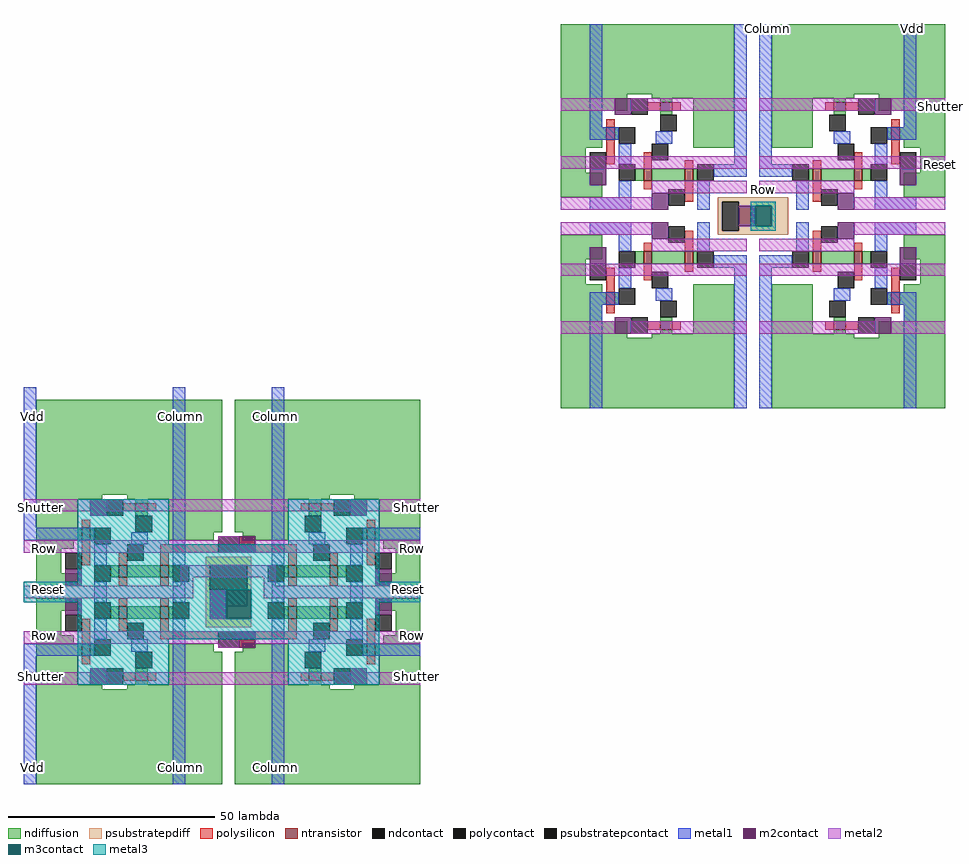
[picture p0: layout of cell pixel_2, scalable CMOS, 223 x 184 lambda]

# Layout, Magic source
magic
tech scmos
<< ntransistor >>
rect 24 71 27 73
rect 11 64 13 67
rect 66 71 69 73
rect 80 64 82 67
rect 20 54 22 57
rect 30 54 32 57
rect 61 54 63 57
rect 71 54 73 57
rect 20 34 22 37
rect 30 34 32 37
rect 61 34 63 37
rect 71 34 73 37
rect 11 24 13 27
rect 24 18 27 20
rect -103 -26 -100 -24
rect -116 -33 -114 -30
rect 80 24 82 27
rect 66 18 69 20
rect -61 -26 -58 -24
rect -77 -33 -74 -32
rect -47 -33 -45 -30
rect -107 -42 -105 -39
rect -97 -42 -95 -39
rect -66 -42 -64 -39
rect -56 -42 -54 -39
rect -107 -52 -105 -49
rect -97 -52 -95 -49
rect -66 -52 -64 -49
rect -56 -52 -54 -49
rect -116 -61 -114 -58
rect -77 -59 -74 -58
rect -103 -67 -100 -65
rect -47 -61 -45 -58
rect -61 -67 -58 -65
<< ndiffusion >>
rect 0 75 42 92
rect 0 71 16 75
rect 22 74 42 75
rect 0 67 10 71
rect 24 73 27 74
rect 24 70 27 71
rect 0 64 11 67
rect 13 64 14 67
rect 0 62 10 64
rect 0 56 6 62
rect 0 50 10 56
rect 32 62 42 74
rect 51 75 93 92
rect 51 74 71 75
rect 51 62 61 74
rect 66 73 69 74
rect 66 70 69 71
rect 77 71 93 75
rect 83 67 93 71
rect 79 64 80 67
rect 82 64 93 67
rect 18 54 20 57
rect 22 54 30 57
rect 32 54 33 57
rect 83 62 93 64
rect 60 54 61 57
rect 63 54 71 57
rect 73 54 75 57
rect 87 56 93 62
rect 0 35 10 41
rect 83 50 93 56
rect 0 29 6 35
rect 18 34 20 37
rect 22 34 30 37
rect 32 34 33 37
rect 0 27 10 29
rect 60 34 61 37
rect 63 34 71 37
rect 73 34 75 37
rect 0 24 11 27
rect 13 24 14 27
rect 0 20 10 24
rect 0 16 16 20
rect 24 20 27 21
rect 24 17 27 18
rect 32 17 42 29
rect 22 16 42 17
rect -127 -22 -82 1
rect -127 -23 -111 -22
rect -105 -23 -82 -22
rect -127 -30 -117 -23
rect -103 -24 -100 -23
rect -103 -27 -100 -26
rect -127 -33 -116 -30
rect -114 -33 -113 -30
rect -127 -35 -118 -33
rect -127 -41 -121 -35
rect -95 -31 -82 -23
rect -79 -22 -34 1
rect 0 -1 42 16
rect 51 17 61 29
rect 83 35 93 41
rect 87 29 93 35
rect 83 27 93 29
rect 79 24 80 27
rect 82 24 93 27
rect 66 20 69 21
rect 66 17 69 18
rect 83 20 93 24
rect 51 16 71 17
rect 77 16 93 20
rect 51 -1 93 16
rect -79 -23 -56 -22
rect -50 -23 -34 -22
rect -79 -31 -66 -23
rect -61 -24 -58 -23
rect -61 -27 -58 -26
rect -44 -30 -34 -23
rect -95 -33 -84 -31
rect -77 -32 -66 -31
rect -74 -33 -66 -32
rect -48 -33 -47 -30
rect -45 -33 -34 -30
rect -43 -35 -34 -33
rect -127 -44 -117 -41
rect -109 -42 -107 -39
rect -105 -42 -97 -39
rect -95 -42 -94 -39
rect -67 -42 -66 -39
rect -64 -42 -56 -39
rect -54 -42 -52 -39
rect -40 -41 -34 -35
rect -44 -44 -34 -41
rect -127 -50 -117 -47
rect -127 -56 -121 -50
rect -109 -52 -107 -49
rect -105 -52 -97 -49
rect -95 -52 -94 -49
rect -127 -58 -118 -56
rect -67 -52 -66 -49
rect -64 -52 -56 -49
rect -54 -52 -52 -49
rect -44 -50 -34 -47
rect -127 -61 -116 -58
rect -114 -61 -113 -58
rect -95 -60 -84 -58
rect -74 -59 -66 -58
rect -77 -60 -66 -59
rect -127 -68 -117 -61
rect -103 -65 -100 -64
rect -103 -68 -100 -67
rect -95 -68 -82 -60
rect -127 -69 -111 -68
rect -105 -69 -82 -68
rect -127 -92 -82 -69
rect -79 -68 -66 -60
rect -40 -56 -34 -50
rect -43 -58 -34 -56
rect -48 -61 -47 -58
rect -45 -61 -34 -58
rect -61 -65 -58 -64
rect -61 -68 -58 -67
rect -44 -68 -34 -61
rect -79 -69 -56 -68
rect -50 -69 -34 -68
rect -79 -92 -34 -69
<< ndcontact >>
rect 14 63 18 67
rect 24 66 28 70
rect 14 54 18 58
rect 65 66 69 70
rect 75 63 79 67
rect 33 54 37 58
rect 56 54 60 58
rect 75 54 79 58
rect 14 33 18 37
rect 33 33 37 37
rect 56 33 60 37
rect 14 24 18 28
rect 24 21 28 25
rect -113 -34 -109 -30
rect -103 -31 -99 -27
rect 75 33 79 37
rect 65 21 69 25
rect 75 24 79 28
rect -62 -31 -58 -27
rect -52 -34 -48 -30
rect -113 -43 -109 -39
rect -94 -43 -90 -39
rect -71 -43 -67 -39
rect -52 -43 -48 -39
rect -113 -52 -109 -48
rect -94 -52 -90 -48
rect -71 -52 -67 -48
rect -52 -52 -48 -48
rect -113 -61 -109 -57
rect -103 -64 -99 -60
rect -62 -64 -58 -60
rect -52 -61 -48 -57
<< psubstratepdiff >>
rect 38 49 55 50
rect 38 42 39 49
rect 43 42 55 49
rect 38 41 55 42
rect -86 -39 -75 -37
rect -86 -45 -85 -39
rect -76 -45 -75 -39
rect -86 -54 -75 -45
<< psubstratepcontact >>
rect 39 42 43 49
rect -85 -45 -76 -39
<< polysilicon >>
rect 21 71 24 73
rect 27 71 29 73
rect 11 67 13 69
rect 11 58 13 64
rect 20 57 22 61
rect 64 71 66 73
rect 69 71 72 73
rect 80 67 82 69
rect 30 57 32 59
rect 61 57 63 59
rect 71 57 73 61
rect 80 58 82 64
rect 20 52 22 54
rect 30 49 32 54
rect 61 49 63 54
rect 71 52 73 54
rect 20 37 22 39
rect 30 37 32 42
rect 61 37 63 42
rect 71 37 73 39
rect 11 27 13 33
rect 20 30 22 34
rect 30 32 32 34
rect 61 32 63 34
rect 11 22 13 24
rect 21 18 24 20
rect 27 18 29 20
rect -106 -26 -103 -24
rect -100 -26 -98 -24
rect -116 -30 -114 -28
rect -116 -39 -114 -33
rect 71 30 73 34
rect 80 27 82 33
rect 80 22 82 24
rect 64 18 66 20
rect 69 18 72 20
rect -63 -26 -61 -24
rect -58 -26 -55 -24
rect -47 -30 -45 -28
rect -107 -39 -105 -36
rect -97 -36 -83 -34
rect -78 -33 -77 -32
rect -78 -34 -74 -33
rect -78 -36 -64 -34
rect -97 -39 -95 -36
rect -66 -39 -64 -36
rect -56 -39 -54 -36
rect -47 -39 -45 -33
rect -107 -44 -105 -42
rect -97 -44 -95 -42
rect -66 -44 -64 -42
rect -56 -44 -54 -42
rect -107 -49 -105 -47
rect -97 -49 -95 -47
rect -116 -58 -114 -52
rect -107 -55 -105 -52
rect -97 -55 -95 -52
rect -66 -49 -64 -47
rect -56 -49 -54 -47
rect -66 -55 -64 -52
rect -97 -57 -83 -55
rect -78 -57 -64 -55
rect -56 -55 -54 -52
rect -78 -58 -74 -57
rect -78 -59 -77 -58
rect -116 -63 -114 -61
rect -106 -67 -103 -65
rect -100 -67 -98 -65
rect -47 -58 -45 -52
rect -47 -63 -45 -61
rect -63 -67 -61 -65
rect -58 -67 -55 -65
<< polycontact >>
rect 17 70 21 74
rect 7 57 11 61
rect 22 59 26 63
rect 72 70 76 74
rect 67 59 71 63
rect 82 57 86 61
rect 26 48 30 52
rect 26 39 30 43
rect 63 48 67 52
rect 63 39 67 43
rect 7 30 11 34
rect 22 28 26 32
rect 17 17 21 21
rect -110 -27 -106 -23
rect -120 -40 -116 -36
rect 67 28 71 32
rect 82 30 86 34
rect 72 17 76 21
rect -55 -27 -51 -23
rect -105 -38 -101 -34
rect -83 -36 -78 -32
rect -60 -38 -56 -34
rect -45 -40 -41 -36
rect -120 -55 -116 -51
rect -105 -57 -101 -53
rect -83 -59 -78 -55
rect -60 -57 -56 -53
rect -110 -68 -106 -64
rect -45 -55 -41 -51
rect -55 -68 -51 -64
<< metal1 >>
rect 7 67 10 92
rect 7 64 14 67
rect 23 63 27 66
rect 14 58 17 63
rect 42 58 45 92
rect 37 55 45 58
rect 48 58 51 92
rect 83 67 86 92
rect 66 63 70 66
rect 79 64 86 67
rect 76 58 79 63
rect 48 55 56 58
rect 14 50 17 54
rect 7 47 17 50
rect 33 47 36 54
rect 7 41 17 44
rect 14 37 17 41
rect 33 37 36 44
rect 57 47 60 54
rect 76 50 79 54
rect 76 47 86 50
rect 57 37 60 44
rect 76 41 86 44
rect 76 37 79 41
rect 37 33 45 36
rect 14 28 17 33
rect 7 24 14 27
rect 23 25 27 28
rect -130 -30 -127 4
rect -130 -33 -113 -30
rect -104 -34 -100 -31
rect -113 -39 -110 -34
rect -94 -39 -91 4
rect -70 -39 -67 4
rect 7 -1 10 24
rect 42 -1 45 33
rect 48 33 56 36
rect 48 -1 51 33
rect 76 28 79 33
rect 66 25 70 28
rect 79 24 86 27
rect 83 -1 86 24
rect -61 -34 -57 -31
rect -48 -33 -34 -30
rect -51 -39 -48 -34
rect -113 -48 -110 -43
rect -94 -48 -91 -43
rect -81 -49 -76 -45
rect -70 -48 -67 -43
rect -51 -48 -48 -43
rect -113 -57 -110 -52
rect -130 -61 -113 -58
rect -104 -60 -100 -57
rect -130 -92 -127 -61
rect -94 -92 -91 -52
rect -70 -92 -67 -52
rect -51 -57 -48 -52
rect -61 -60 -57 -57
rect -48 -61 -34 -58
<< m2contact >>
rect 13 70 17 74
rect 7 53 11 57
rect 76 70 80 74
rect 22 47 26 51
rect 7 34 11 38
rect 22 40 26 44
rect 43 43 47 48
rect 67 47 71 51
rect 82 53 86 57
rect 67 40 71 44
rect -114 -27 -110 -23
rect -120 -44 -116 -40
rect -78 -36 -74 -32
rect 13 17 17 21
rect 82 34 86 38
rect 76 17 80 21
rect -51 -27 -47 -23
rect -120 -51 -116 -47
rect -85 -52 -81 -45
rect -45 -44 -41 -40
rect -114 -68 -110 -64
rect -78 -59 -74 -55
rect -45 -51 -41 -47
rect -51 -68 -47 -64
<< metal2 >>
rect 0 71 13 74
rect 17 71 45 74
rect 48 71 76 74
rect 80 71 93 74
rect 0 57 45 60
rect 48 57 93 60
rect 22 51 45 54
rect 48 51 71 54
rect 0 47 22 50
rect 0 41 22 44
rect 71 47 93 50
rect 71 41 93 44
rect 22 37 45 40
rect 48 37 71 40
rect 0 31 45 34
rect 48 31 93 34
rect 0 17 13 20
rect 17 17 45 20
rect 48 17 76 20
rect 80 17 93 20
rect -130 -26 -114 -23
rect -110 -26 -51 -23
rect -47 -26 -34 -23
rect -83 -33 -78 -32
rect -130 -36 -78 -33
rect -74 -36 -34 -33
rect -92 -42 -69 -39
rect -92 -44 -89 -42
rect -130 -47 -89 -44
rect -72 -44 -69 -42
rect -72 -47 -34 -44
rect -130 -58 -78 -55
rect -83 -59 -78 -58
rect -74 -58 -34 -55
rect -130 -68 -114 -65
rect -110 -68 -51 -65
rect -47 -68 -34 -65
<< m3contact >>
rect 47 43 51 48
rect -81 -52 -75 -45
<< metal3 >>
rect 46 48 52 49
rect 46 43 47 48
rect 51 43 52 48
rect 46 42 52 43
rect -117 -34 -95 -23
rect -66 -34 -44 -23
rect -117 -43 -44 -34
rect -130 -45 -34 -43
rect -130 -48 -81 -45
rect -117 -52 -81 -48
rect -75 -48 -34 -45
rect -75 -52 -44 -48
rect -117 -57 -44 -52
rect -117 -68 -95 -57
rect -66 -68 -44 -57
<< labels >>
rlabel metal1 50 91 50 91 5 Column
rlabel metal1 85 91 85 91 5 Vdd
rlabel metal2 49 52 49 52 1 Row
rlabel metal2 92 58 92 58 7 Reset
rlabel metal2 92 72 92 72 7 Shutter
rlabel metal2 -35 -25 -35 -25 7 Shutter
rlabel metal2 -36 -35 -36 -35 1 Row
rlabel metal2 -37 -45 -37 -45 1 Reset
rlabel metal1 -69 -3 -69 -3 1 Column
rlabel metal2 -126 -25 -126 -25 3 Shutter
rlabel metal2 -125 -35 -125 -35 1 Row
rlabel metal2 -124 -45 -124 -45 1 Reset
rlabel metal1 -92 -3 -92 -3 1 Column
rlabel metal1 -128 -3 -128 -3 1 Vdd
rlabel metal2 -35 -66 -35 -66 7 Shutter
rlabel metal2 -36 -56 -36 -56 5 Row
rlabel metal2 -37 -46 -37 -46 5 Reset
rlabel metal1 -69 -88 -69 -88 5 Column
rlabel metal2 -126 -66 -126 -66 3 Shutter
rlabel metal2 -125 -56 -125 -56 5 Row
rlabel metal2 -124 -46 -124 -46 5 Reset
rlabel metal1 -92 -88 -92 -88 5 Column
rlabel metal1 -128 -88 -128 -88 5 Vdd
<< end >>
